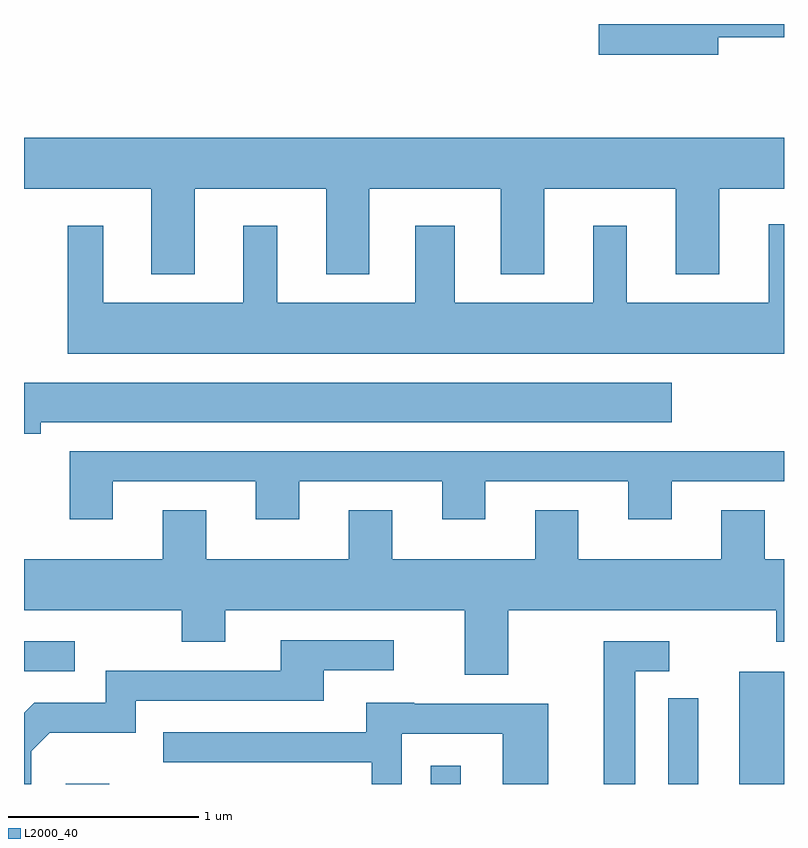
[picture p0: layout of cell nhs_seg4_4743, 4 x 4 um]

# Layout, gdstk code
import gdstk
lib = gdstk.Library(unit=1e-6, precision=1e-09)
def R(c, l, rs):  # rectangles x0, y0, x1, y1
    for r in rs: c.add(gdstk.rectangle(r[:2], r[2:], *l))
def P(c, l, *ps):  # polygons
    for p in ps: c.add(gdstk.Polygon(p, *l))
L2000_40 = (2000, 40)

nhs_seg4_4743 = lib.new_cell('nhs_seg4_4743')
R(nhs_seg4_4743, L2000_40, [(323.831,1355.982,324.059,1355.984), (325.751,1355.982,325.909,1356.078), (327.001,1355.982,327.159,1356.433), (327.376,1355.982,327.611,1356.574), (323.611,1356.576,323.878,1356.734)])
P(nhs_seg4_4743, L2000_40, [(327.264,1359.911),(327.611,1359.911),(327.611,1359.982),(326.636,1359.982),(326.636,1359.821),(327.264,1359.821)],
  [(324.509,1359.116),(325.201,1359.116),(325.201,1358.666),(325.429,1358.666),(325.429,1359.116),(326.121,1359.116),(326.121,1358.666),(326.349,1358.666),(326.349,1359.116),(327.041,1359.116),(327.041,1358.666),(327.269,1358.666),(327.269,1359.116),(327.611,1359.116),(327.611,1359.384),(323.611,1359.384),(323.611,1359.116),(324.281,1359.116),(324.281,1358.666),(324.509,1358.666)],
  [(327.611,1358.928),(327.531,1358.928),(327.531,1358.514),(326.784,1358.514),(326.784,1358.919),(326.606,1358.919),(326.606,1358.514),(325.879,1358.514),(325.879,1358.919),(325.671,1358.919),(325.671,1358.514),(324.944,1358.514),(324.944,1358.919),(324.766,1358.919),(324.766,1358.514),(324.029,1358.514),(324.029,1358.919),(323.841,1358.919),(323.841,1358.246),(327.611,1358.246)],
  [(323.699,1357.886),(327.019,1357.886),(327.019,1358.094),(323.611,1358.094),(323.611,1357.826),(323.699,1357.826)],
  [(324.079,1357.576),(324.831,1357.576),(324.831,1357.376),(325.059,1357.376),(325.059,1357.576),(325.811,1357.576),(325.811,1357.376),(326.039,1357.376),(326.039,1357.576),(326.791,1357.576),(326.791,1357.376),(327.019,1357.376),(327.019,1357.576),(327.611,1357.576),(327.611,1357.734),(323.851,1357.734),(323.851,1357.376),(324.079,1357.376)],
  [(326.159,1356.896),(327.571,1356.896),(327.571,1356.731),(327.611,1356.731),(327.611,1357.164),(327.509,1357.164),(327.509,1357.424),(327.281,1357.424),(327.281,1357.164),(326.529,1357.164),(326.529,1357.424),(326.301,1357.424),(326.301,1357.164),(325.549,1357.164),(325.549,1357.424),(325.321,1357.424),(325.321,1357.164),(324.569,1357.164),(324.569,1357.424),(324.341,1357.424),(324.341,1357.164),(323.611,1357.164),(323.611,1356.896),(324.441,1356.896),(324.441,1356.731),(324.669,1356.731),(324.669,1356.896),(325.931,1356.896),(325.931,1356.556),(326.159,1356.556)],
  [(323.649,1356.154),(323.747,1356.251),(324.199,1356.251),(324.199,1356.421),(325.189,1356.421),(325.189,1356.581),(325.558,1356.581),(325.558,1356.739),(324.961,1356.739),(324.961,1356.579),(324.041,1356.579),(324.041,1356.409),(323.664,1356.409),(323.611,1356.356),(323.611,1355.982),(323.649,1355.982)],
  [(326.829,1356.576),(327.008,1356.576),(327.008,1356.734),(326.661,1356.734),(326.661,1355.982),(326.829,1355.982)],
  [(325.599,1356.246),(326.131,1356.246),(326.131,1355.982),(326.369,1355.982),(326.369,1356.404),(325.665,1356.404),(325.665,1356.409),(325.411,1356.409),(325.411,1356.254),(324.343,1356.254),(324.343,1356.096),(325.441,1356.096),(325.441,1355.982),(325.599,1355.982)])

lib.write_gds('nhs_seg4_4743.gds')
